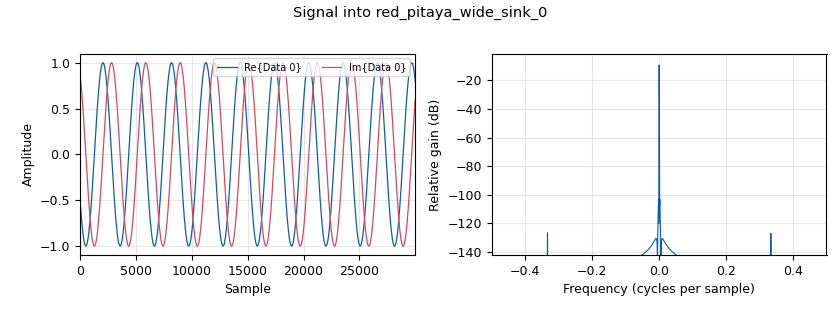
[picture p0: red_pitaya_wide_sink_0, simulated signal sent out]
<?xml version='1.0' encoding='utf-8'?>
<?grc format='1' created='3.7.5'?>
<flow_graph>
<block>
<key>variable_qtgui_check_box</key>
<param><key>id</key><value>ptt</value></param>
<param><key>type</key><value>int</value></param>
<param><key>value</key><value>False</value></param>
<param><key>true</key><value>True</value></param>
<param><key>false</key><value>False</value></param>
<param><key>gui_hint</key><value>0,0,1,1</value></param>
</block>
<block>
<key>variable</key>
<param><key>id</key><value>samp_rate</value></param>
<param><key>value</key><value>48000</value></param>
</block>
<block>
<key>variable</key>
<param><key>id</key><value>addr</value></param>
<param><key>value</key><value>"192.168.1.100"</value></param>
</block>
<block>
<key>variable</key>
<param><key>id</key><value>rx_samp_rate</value></param>
<param><key>value</key><value>3072000</value></param>
</block>
<block>
<key>variable</key>
<param><key>id</key><value>tx_samp_rate</value></param>
<param><key>value</key><value>3072000</value></param>
</block>
<block>
<key>options</key>
<param><key>id</key><value>trx_wide_template</value></param>
<param><key>generate_options</key><value>qt_gui</value></param>
<param><key>category</key><value>Custom</value></param>
</block>
<block>
<key>analog_sig_source_x</key>
<param><key>id</key><value>analog_sig_source_x_0</value></param>
<param><key>type</key><value>complex</value></param>
<param><key>samp_rate</key><value>tx_samp_rate</value></param>
<param><key>waveform</key><value>analog.GR_COS_WAVE</value></param>
<param><key>freq</key><value>1000</value></param>
<param><key>amp</key><value>1</value></param>
<param><key>offset</key><value>0</value></param>
</block>
<block>
<key>red_pitaya_wide_source</key>
<param><key>id</key><value>red_pitaya_wide_source_0</value></param>
<param><key>addr</key><value>str(addr)</value></param>
<param><key>port</key><value>1001</value></param>
<param><key>freq</key><value>12000000</value></param>
<param><key>rate</key><value>rx_samp_rate</value></param>
<param><key>mask</key><value>1</value></param>
<param><key>corr</key><value>0</value></param>
</block>
<block>
<key>qtgui_freq_sink_x</key>
<param><key>id</key><value>qtgui_freq_sink_x_0</value></param>
<param><key>type</key><value>complex</value></param>
<param><key>name</key><value>QT GUI Plot</value></param>
<param><key>fftsize</key><value>1024</value></param>
<param><key>wintype</key><value>firdes.WIN_BLACKMAN_hARRIS</value></param>
<param><key>fc</key><value>0</value></param>
<param><key>bw</key><value>rx_samp_rate</value></param>
<param><key>gui_hint</key><value>1,0,1,1</value></param>
<param><key>showports</key><value>True</value></param>
</block>
<block>
<key>red_pitaya_wide_sink</key>
<param><key>id</key><value>red_pitaya_wide_sink_0</value></param>
<param><key>addr</key><value>str(addr)</value></param>
<param><key>port</key><value>1001</value></param>
<param><key>freq</key><value>12000000</value></param>
<param><key>rate</key><value>tx_samp_rate</value></param>
<param><key>mask</key><value>1</value></param>
<param><key>corr</key><value>0</value></param>
<param><key>ptt</key><value>ptt</value></param>
</block>
<connection><source_block_id>red_pitaya_wide_source_0</source_block_id><sink_block_id>qtgui_freq_sink_x_0</sink_block_id><source_key>0</source_key><sink_key>0</sink_key></connection>
<connection><source_block_id>analog_sig_source_x_0</source_block_id><sink_block_id>red_pitaya_wide_sink_0</sink_block_id><source_key>0</source_key><sink_key>0</sink_key></connection>
</flow_graph>
